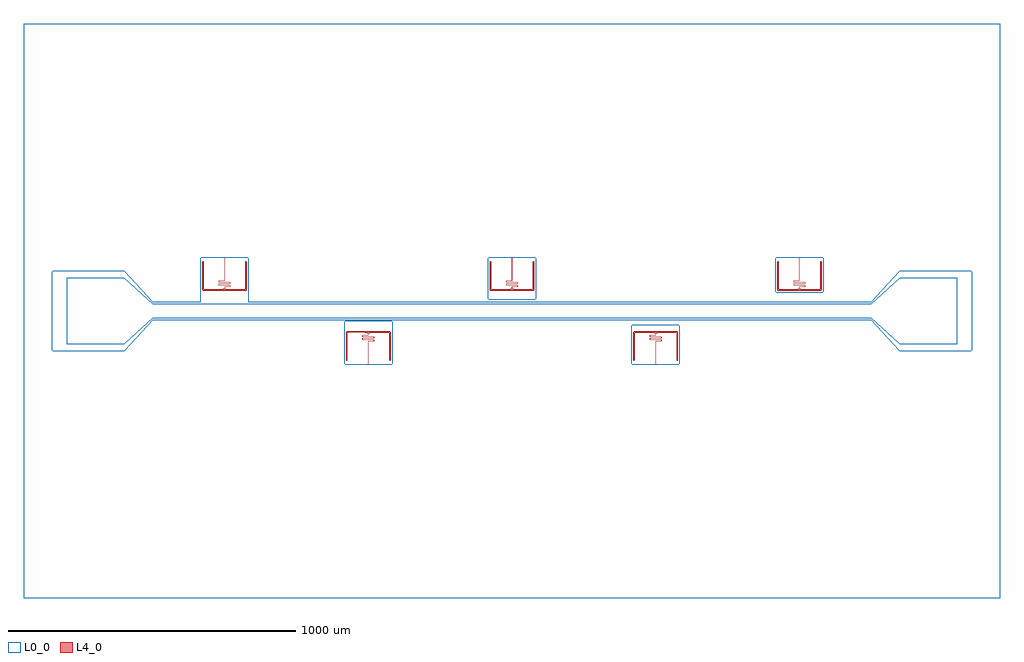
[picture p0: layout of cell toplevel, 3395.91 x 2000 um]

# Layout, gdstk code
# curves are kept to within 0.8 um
import gdstk
lib = gdstk.Library(unit=1e-6, precision=1e-09)
def P(c, l, *ps):  # polygons
    for p in ps: c.add(gdstk.Polygon(p, *l))
L0_0 = (0, 0)
L4_0 = (4, 0)

toplevel = lib.new_cell('toplevel')
P(toplevel, L0_0, [(1697.954,1000),(-1697.954,1000),(-1697.954,-137.954),(-1600,-137.954),(-1600,137.954),(-1350,137.954),(-1250,30.05),(-1082.5,30.05),(-1082.5,185.05),(-917.5,185.05),(-917.5,40.05),(-82.5,40.05),(-82.5,185.05),(82.5,185.05),(82.5,65.05),(917.5,65.05),(917.5,185.05),(1082.5,185.05),(1082.5,65.05),(82.5,65.05),(82.5,40.05),(-917.5,40.05),(-917.5,30.05),(1250,30.05),(1350,137.954),(1600,137.954),(1600,-137.954),(1350,-137.954),(1250,-30.05),(-1250,-30.05),(-1350,-137.954),(-1697.954,-137.954),(-1697.954,-185.05),(-582.5,-185.05),(-582.5,-35.05),(-417.5,-35.05),(-417.5,-185.05),(417.5,-185.05),(417.5,-50.05),(582.5,-50.05),(582.5,-185.05),(-1697.954,-185.05),(-1697.954,-1000),(1697.954,-1000)],
  [(-1250,25.05),(-1350,115),(-1550,115),(-1550,-115),(-1350,-115),(-1250,-25.05),(1250,-25.05),(1350,-115),(1550,-115),(1550,115),(1350,115),(1250,25.05)])
P(toplevel, L4_0, [(-1070.458,70.05),(-1073.313,70.356),(-1075.466,71.473),(-1076.915,73.45),(-1077.475,76.004),(-1077.5,170.05),(-1076.434,172.098),(-1075.109,172.548),(-1073.846,172.268),(-1072.891,171.393),(-1072.502,170.159),(-1072.496,76.622),(-1072.244,75.297),(-1070.62,75.05),(-1010,75.05),(-1000.3,79.95),(-1000.277,84.276),(-999.54,85.18),(-980.418,85.434),(-980.316,89.185),(-980.803,89.639),(-1019.048,89.651),(-1020.263,90.541),(-1020.262,94.366),(-1019.294,95.232),(-981.015,95.25),(-980.327,95.651),(-980.312,99.156),(-980.79,99.637),(-1019.042,99.651),(-1020.256,100.508),(-1020.272,104.308),(-1019.481,105.196),(-1000.971,105.251),(-1000.331,105.633),(-1000.3,184.95),(-999.7,184.95),(-999.747,105.495),(-1000.882,104.654),(-1019.325,104.617),(-1019.692,104.113),(-1019.67,100.64),(-1018.985,100.25),(-980.705,100.232),(-979.738,99.366),(-979.74,95.528),(-980.957,94.651),(-1019.21,94.637),(-1019.688,94.156),(-1019.482,90.344),(-980.088,89.984),(-979.7,86.072),(-980.309,84.778),(-999.599,84.442),(-999.7,79.95),(-990,75.05),(-927.782,75.278),(-927.498,170.159),(-926.915,171.657),(-925.647,172.465),(-924.145,172.399),(-922.952,171.484),(-922.5,170.05),(-922.503,76.613),(-923.1,73.415),(-924.934,71.168),(-926.821,70.32),(-929.332,70.05)],
  [(-500.3,-184.95),(-500.253,-105.495),(-499.118,-104.654),(-480.675,-104.617),(-480.308,-104.113),(-480.329,-100.64),(-481.015,-100.25),(-519.294,-100.232),(-520.262,-99.366),(-520.26,-95.528),(-519.042,-94.651),(-480.79,-94.637),(-480.312,-94.156),(-480.518,-90.344),(-519.912,-89.984),(-520.3,-86.072),(-519.691,-84.778),(-500.401,-84.442),(-500.3,-79.95),(-510,-75.05),(-572.243,-75.296),(-572.502,-170.159),(-573.393,-171.965),(-575.434,-172.512),(-576.915,-171.657),(-577.5,-170.05),(-577.498,-76.688),(-577.23,-74.371),(-576.428,-72.552),(-574.134,-70.65),(-570.764,-70.051),(-429.356,-70.05),(-426.987,-70.279),(-425.07,-71.077),(-423.1,-73.415),(-422.5,-76.906),(-422.502,-170.159),(-423.085,-171.657),(-424.566,-172.512),(-426.607,-171.965),(-427.498,-170.159),(-427.756,-75.297),(-490,-75.05),(-499.7,-79.95),(-499.723,-84.276),(-500.46,-85.18),(-519.582,-85.434),(-519.684,-89.185),(-519.197,-89.639),(-480.952,-89.651),(-479.737,-90.541),(-479.738,-94.366),(-480.706,-95.232),(-518.985,-95.25),(-519.673,-95.651),(-519.688,-99.156),(-519.21,-99.637),(-480.957,-99.651),(-479.744,-100.508),(-479.728,-104.308),(-480.519,-105.196),(-499.029,-105.251),(-499.669,-105.633),(-499.7,-184.95)],
  [(-70.459,70.05),(-73.313,70.356),(-75.466,71.473),(-76.9,73.415),(-77.478,76.059),(-77.5,170.05),(-76.434,172.098),(-75.218,172.54),(-73.943,172.316),(-72.891,171.393),(-72.502,170.159),(-72.498,76.715),(-72.243,75.296),(-70.62,75.05),(-10,75.05),(-0.3,79.95),(-0.277,84.276),(0.46,85.18),(19.582,85.434),(19.684,89.185),(19.197,89.639),(-19.048,89.651),(-20.263,90.541),(-20.262,94.366),(-19.294,95.232),(18.985,95.25),(19.673,95.651),(19.688,99.156),(19.21,99.637),(-19.042,99.651),(-20.256,100.508),(-20.272,104.308),(-19.481,105.196),(-0.971,105.251),(-0.331,105.633),(-0.3,184.95),(0.3,184.95),(0.253,105.495),(-0.882,104.654),(-19.325,104.617),(-19.692,104.113),(-19.67,100.64),(-18.985,100.25),(19.294,100.232),(20.262,99.366),(20.26,95.528),(19.042,94.651),(-19.21,94.637),(-19.688,94.156),(-19.482,90.344),(19.912,89.984),(20.3,86.072),(19.691,84.778),(0.401,84.442),(0.3,79.95),(10,75.05),(72.218,75.278),(72.502,170.159),(73.085,171.657),(74.353,172.465),(75.855,172.399),(77.048,171.484),(77.5,170.05),(77.495,76.512),(76.9,73.415),(75.066,71.168),(73.179,70.32),(70.668,70.05)],
  [(499.7,-184.95),(499.747,-105.495),(500.882,-104.654),(519.325,-104.617),(519.692,-104.113),(519.67,-100.64),(518.985,-100.25),(480.706,-100.232),(479.738,-99.366),(479.74,-95.528),(480.957,-94.651),(519.21,-94.637),(519.688,-94.156),(519.481,-90.344),(480.088,-89.984),(479.7,-86.072),(480.309,-84.778),(499.599,-84.442),(499.7,-79.95),(490,-75.05),(427.751,-75.301),(427.498,-170.159),(426.607,-171.965),(424.566,-172.512),(423.085,-171.657),(422.5,-170.05),(422.502,-76.688),(422.77,-74.371),(423.572,-72.552),(425.865,-70.65),(429.236,-70.051),(570.644,-70.05),(573.013,-70.279),(574.93,-71.077),(576.899,-73.415),(577.5,-76.906),(577.498,-170.159),(576.915,-171.657),(575.434,-172.512),(573.393,-171.965),(572.502,-170.159),(572.243,-75.296),(510,-75.05),(500.3,-79.95),(500.277,-84.276),(499.54,-85.18),(480.418,-85.434),(480.316,-89.185),(480.803,-89.639),(519.048,-89.651),(520.263,-90.541),(520.262,-94.366),(519.294,-95.232),(481.015,-95.25),(480.327,-95.651),(480.312,-99.156),(480.79,-99.637),(519.042,-99.651),(520.256,-100.508),(520.272,-104.308),(519.481,-105.196),(500.971,-105.251),(500.331,-105.633),(500.3,-184.95)],
  [(929.541,70.05),(926.687,70.356),(924.534,71.473),(923.1,73.415),(922.525,76.004),(922.5,170.05),(923.566,172.098),(924.891,172.548),(926.154,172.268),(927.108,171.393),(927.498,170.159),(927.503,76.659),(927.757,75.296),(929.38,75.05),(990,75.05),(999.7,79.95),(999.723,84.276),(1000.46,85.18),(1019.582,85.434),(1019.684,89.185),(1019.197,89.639),(980.952,89.651),(979.737,90.541),(979.738,94.366),(980.705,95.232),(1018.985,95.25),(1019.673,95.651),(1019.688,99.156),(1019.21,99.637),(980.957,99.651),(979.744,100.508),(979.728,104.308),(980.519,105.196),(999.029,105.251),(999.669,105.633),(999.7,184.95),(1000.3,184.95),(1000.253,105.495),(999.118,104.654),(980.675,104.617),(980.308,104.113),(980.329,100.64),(981.015,100.25),(1019.294,100.232),(1020.262,99.366),(1020.26,95.528),(1019.042,94.651),(980.79,94.637),(980.312,94.156),(980.518,90.344),(1019.912,89.984),(1020.3,86.072),(1019.691,84.778),(1000.401,84.442),(1000.3,79.95),(1010,75.05),(1072.218,75.278),(1072.502,170.159),(1073.016,171.572),(1074.353,172.465),(1075.855,172.399),(1077.048,171.484),(1077.5,170.05),(1077.495,76.512),(1076.884,73.381),(1075.066,71.168),(1073.179,70.32),(1070.668,70.05)])

lib.write_gds('toplevel.gds')
